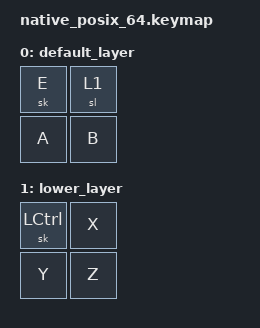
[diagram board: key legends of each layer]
#include <dt-bindings/zmk/keys.h>
#include <behaviors.dtsi>
#include <dt-bindings/zmk/kscan_mock.h>
#include "../behavior_keymap.dtsi"

/* This test ensures that sticky keys remain active while being pressed. */

/ {
    keymap {
        compatible = "zmk,keymap";
        label ="Default keymap";

        default_layer {
            bindings = <
                &sk E &sl 1
                &kp A &kp B>;
        };

        lower_layer {
            bindings = <
                &sk LEFT_CONTROL &kp X
                &kp Y  &kp Z>;
        };
    };
};

&kscan {
    events = <
        // Hold &sk E past no-sticky-after-hold-ms
        ZMK_MOCK_PRESS(0,0,1200)
        // Tap &kp A twice
        ZMK_MOCK_PRESS(1,0,10)
        ZMK_MOCK_RELEASE(1,0,10)
        ZMK_MOCK_PRESS(1,0,10)
        ZMK_MOCK_RELEASE(1,0,10)
        // &sk E should remain active before releasing
        ZMK_MOCK_RELEASE(0,0,10)

        // Hold &sl 1 past no-sticky-after-hold-ms
        ZMK_MOCK_PRESS(0,1,1200)
        // Tap &kp Y twice
        ZMK_MOCK_PRESS(1,0,10)
        ZMK_MOCK_RELEASE(1,0,10)
        ZMK_MOCK_PRESS(1,0,10)
        ZMK_MOCK_RELEASE(1,0,10)
        // &sl 1 should remain active before releasing
        ZMK_MOCK_RELEASE(0,1,10)
    >;
};
